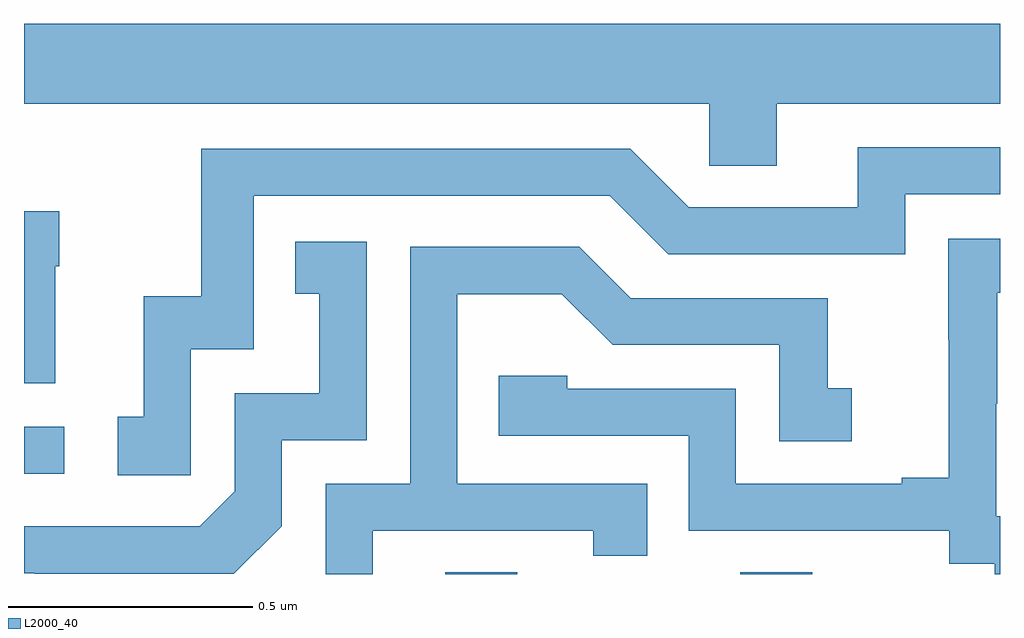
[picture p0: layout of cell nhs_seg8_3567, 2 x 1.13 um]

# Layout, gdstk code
import gdstk
lib = gdstk.Library(unit=1e-6, precision=1e-09)
def R(c, l, rs):  # rectangles x0, y0, x1, y1
    for r in rs: c.add(gdstk.rectangle(r[:2], r[2:], *l))
def P(c, l, *ps):  # polygons
    for p in ps: c.add(gdstk.Polygon(p, *l))
L2000_40 = (2000, 40)

nhs_seg8_3567 = lib.new_cell('nhs_seg8_3567')
R(nhs_seg8_3567, L2000_40, [(159.863,1084.9,160.011,1084.904), (160.468,1084.9,160.615,1084.904), (159,1085.106,159.082,1085.202)])
P(nhs_seg8_3567, L2000_40, [(160.543,1085.864),(161,1085.864),(161,1086.028),(159,1086.028),(159,1085.864),(160.404,1085.864),(160.404,1085.737),(160.543,1085.737)],
  [(159.342,1085.361),(159.471,1085.361),(159.471,1085.676),(160.2,1085.676),(160.32,1085.556),(160.806,1085.556),(160.806,1085.679),(161,1085.679),(161,1085.775),(160.709,1085.775),(160.709,1085.652),(160.362,1085.652),(160.242,1085.772),(159.363,1085.772),(159.363,1085.47),(159.245,1085.47),(159.245,1085.223),(159.192,1085.223),(159.192,1085.103),(159.342,1085.103)],
  [(159.064,1085.531),(159.072,1085.531),(159.072,1085.644),(159,1085.644),(159,1085.291),(159.064,1085.291)],
  [(161,1085.019),(160.992,1085.019),(160.992,1085.249),(160.994,1085.249),(160.994,1085.477),(161,1085.477),(161,1085.587),(160.894,1085.587),(160.894,1085.381),(160.895,1085.381),(160.895,1085.098),(160.799,1085.098),(160.799,1085.085),(160.458,1085.085),(160.458,1085.28),(160.113,1085.28),(160.113,1085.307),(159.973,1085.307),(159.973,1085.184),(160.362,1085.184),(160.362,1084.989),(160.896,1084.989),(160.896,1084.921),(160.989,1084.921),(160.989,1084.9),(161,1084.9)],
  [(159.528,1084.998),(159.528,1085.175),(159.702,1085.175),(159.702,1085.581),(159.556,1085.581),(159.556,1085.475),(159.605,1085.475),(159.605,1085.271),(159.432,1085.271),(159.432,1085.07),(159.36,1084.998),(159,1084.998),(159,1084.902),(159.022,1084.902),(159.022,1084.901),(159.43,1084.901)],
  [(159.715,1084.989),(160.166,1084.989),(160.166,1084.938),(160.277,1084.938),(160.277,1085.085),(159.888,1085.085),(159.888,1085.474),(160.102,1085.474),(160.206,1085.37),(160.548,1085.37),(160.548,1085.172),(160.696,1085.172),(160.696,1085.281),(160.647,1085.281),(160.647,1085.466),(160.243,1085.466),(160.138,1085.571),(159.792,1085.571),(159.792,1085.085),(159.618,1085.085),(159.618,1084.9),(159.715,1084.9)])

lib.write_gds('nhs_seg8_3567.gds')
